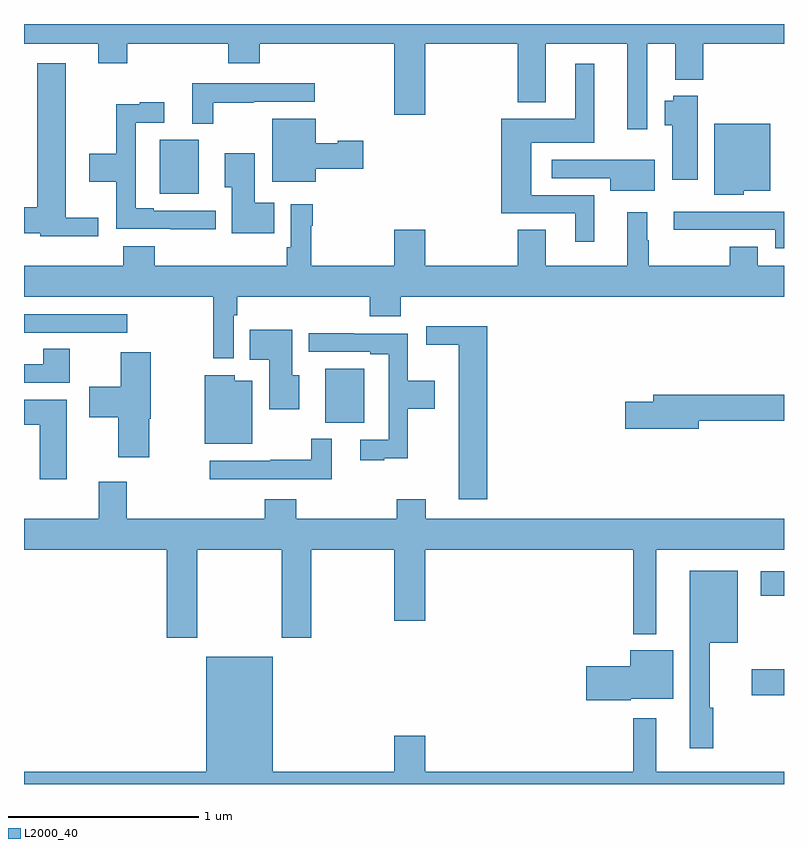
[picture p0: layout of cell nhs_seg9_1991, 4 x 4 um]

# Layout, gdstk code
import gdstk
lib = gdstk.Library(unit=1e-6, precision=1e-09)
def R(c, l, rs):  # rectangles x0, y0, x1, y1
    for r in rs: c.add(gdstk.rectangle(r[:2], r[2:], *l))
def P(c, l, *ps):  # polygons
    for p in ps: c.add(gdstk.Polygon(p, *l))
L2000_40 = (2000, 40)

nhs_seg9_1991 = lib.new_cell('nhs_seg9_1991')
R(nhs_seg9_1991, L2000_40, [(226.83,1216.966,227,1217.103), (226.878,1217.491,227,1217.62), (224.585,1218.401,224.791,1218.685), (223,1218.876,223.543,1218.972), (223.715,1219.607,223.921,1219.891)])
P(nhs_seg9_1991, L2000_40, [(226.279,1220.396),(226.427,1220.396),(226.427,1220.207),(226.575,1220.207),(226.575,1220.396),(227,1220.396),(227,1220.5),(223,1220.5),(223,1220.396),(223.391,1220.396),(223.391,1220.294),(223.544,1220.294),(223.544,1220.396),(224.075,1220.396),(224.075,1220.294),(224.24,1220.294),(224.24,1220.396),(224.948,1220.396),(224.948,1220.022),(225.112,1220.022),(225.112,1220.396),(225.598,1220.396),(225.598,1220.087),(225.745,1220.087),(225.745,1220.396),(226.175,1220.396),(226.175,1219.947),(226.279,1219.947)],
  [(223.39,1219.481),(223.219,1219.481),(223.219,1220.293),(223.07,1220.293),(223.07,1219.535),(223,1219.535),(223,1219.4),(223.086,1219.4),(223.086,1219.382),(223.39,1219.382)],
  [(226,1219.599),(225.67,1219.599),(225.67,1219.874),(226,1219.874),(226,1220.29),(225.902,1220.29),(225.902,1220.002),(225.512,1220.002),(225.512,1219.503),(225.902,1219.503),(225.902,1219.353),(226,1219.353)],
  [(223.996,1220.086),(224.21,1220.086),(224.21,1220.091),(224.53,1220.091),(224.53,1220.187),(223.886,1220.187),(223.886,1219.976),(223.996,1219.976)],
  [(226.546,1220.122),(226.416,1220.122),(226.416,1220.095),(226.373,1220.095),(226.373,1219.966),(226.412,1219.966),(226.412,1219.68),(226.546,1219.68)],
  [(224.008,1219.518),(223.684,1219.518),(223.684,1219.531),(223.587,1219.531),(223.587,1219.98),(223.738,1219.98),(223.738,1220.089),(223.61,1220.089),(223.61,1220.078),(223.486,1220.078),(223.486,1219.818),(223.344,1219.818),(223.344,1219.67),(223.486,1219.67),(223.486,1219.422),(223.771,1219.422),(223.771,1219.421),(224.008,1219.421)],
  [(224.536,1219.739),(224.785,1219.739),(224.785,1219.886),(224.652,1219.886),(224.652,1219.873),(224.536,1219.873),(224.536,1220.002),(224.306,1220.002),(224.306,1219.67),(224.536,1219.67)],
  [(226.788,1219.622),(226.927,1219.622),(226.927,1219.975),(226.634,1219.975),(226.634,1219.601),(226.788,1219.601)],
  [(224.318,1219.558),(224.215,1219.558),(224.215,1219.819),(224.057,1219.819),(224.057,1219.642),(224.093,1219.642),(224.093,1219.4),(224.318,1219.4)],
  [(226.321,1219.786),(226.089,1219.786),(226.089,1219.785),(225.777,1219.785),(225.777,1219.689),(226.085,1219.689),(226.085,1219.622),(226.321,1219.622)],
  [(224.103,1218.968),(224.123,1218.968),(224.123,1219.064),(224.819,1219.064),(224.819,1218.962),(224.984,1218.962),(224.984,1219.064),(227,1219.064),(227,1219.228),(226.861,1219.228),(226.861,1219.327),(226.714,1219.327),(226.714,1219.228),(226.289,1219.228),(226.289,1219.361),(226.279,1219.361),(226.279,1219.51),(226.175,1219.51),(226.175,1219.228),(225.745,1219.228),(225.745,1219.418),(225.598,1219.418),(225.598,1219.228),(225.112,1219.228),(225.112,1219.417),(224.948,1219.417),(224.948,1219.228),(224.512,1219.228),(224.512,1219.439),(224.519,1219.439),(224.519,1219.552),(224.403,1219.552),(224.403,1219.324),(224.383,1219.324),(224.383,1219.228),(223.688,1219.228),(223.688,1219.33),(223.523,1219.33),(223.523,1219.228),(223,1219.228),(223,1219.064),(223.995,1219.064),(223.995,1218.741),(224.103,1218.741)],
  [(227,1219.512),(226.419,1219.512),(226.419,1219.416),(226.953,1219.416),(226.953,1219.32),(227,1219.32)],
  [(225.437,1218.91),(225.117,1218.91),(225.117,1218.812),(225.287,1218.812),(225.287,1218),(225.437,1218)],
  [(224.449,1218.651),(224.413,1218.651),(224.413,1218.892),(224.188,1218.892),(224.188,1218.734),(224.291,1218.734),(224.291,1218.473),(224.449,1218.473)],
  [(224.897,1218.215),(225.02,1218.215),(225.02,1218.475),(225.163,1218.475),(225.163,1218.622),(225.02,1218.622),(225.02,1218.87),(224.735,1218.87),(224.735,1218.872),(224.498,1218.872),(224.498,1218.774),(224.822,1218.774),(224.822,1218.762),(224.919,1218.762),(224.919,1218.312),(224.769,1218.312),(224.769,1218.204),(224.897,1218.204)],
  [(223.24,1218.791),(223.1,1218.791),(223.1,1218.708),(223,1218.708),(223,1218.612),(223.24,1218.612)],
  [(223.659,1218.423),(223.666,1218.423),(223.666,1218.772),(223.508,1218.772),(223.508,1218.592),(223.344,1218.592),(223.344,1218.43),(223.496,1218.43),(223.496,1218.219),(223.659,1218.219)],
  [(224.2,1218.622),(224.11,1218.622),(224.11,1218.652),(223.952,1218.652),(223.952,1218.29),(224.2,1218.29)],
  [(226.552,1218.412),(227,1218.412),(227,1218.548),(226.313,1218.548),(226.313,1218.512),(226.164,1218.512),(226.164,1218.37),(226.552,1218.37)],
  [(223.225,1218.523),(223,1218.523),(223,1218.392),(223.082,1218.392),(223.082,1218.105),(223.225,1218.105)],
  [(224.62,1218.316),(224.511,1218.316),(224.511,1218.206),(224.296,1218.206),(224.296,1218.201),(223.977,1218.201),(223.977,1218.105),(224.62,1218.105)],
  [(224.511,1217.732),(224.948,1217.732),(224.948,1217.358),(225.112,1217.358),(225.112,1217.732),(226.206,1217.732),(226.206,1217.288),(226.327,1217.288),(226.327,1217.732),(227,1217.732),(227,1217.896),(225.115,1217.896),(225.115,1217.998),(224.963,1217.998),(224.963,1217.896),(224.432,1217.896),(224.432,1217.998),(224.267,1217.998),(224.267,1217.896),(223.542,1217.896),(223.542,1218.091),(223.394,1218.091),(223.394,1217.896),(223,1217.896),(223,1217.732),(223.751,1217.732),(223.751,1217.271),(223.911,1217.271),(223.911,1217.732),(224.356,1217.732),(224.356,1217.271),(224.511,1217.271)],
  [(226.627,1216.901),(226.609,1216.901),(226.609,1217.243),(226.756,1217.243),(226.756,1217.623),(226.505,1217.623),(226.505,1216.689),(226.627,1216.689)],
  [(226.194,1216.949),(226.417,1216.949),(226.417,1217.203),(226.19,1217.203),(226.19,1217.12),(225.96,1217.12),(225.96,1216.942),(226.194,1216.942)],
  [(227,1216.564),(226.327,1216.564),(226.327,1216.846),(226.206,1216.846),(226.206,1216.564),(225.112,1216.564),(225.112,1216.753),(224.948,1216.753),(224.948,1216.564),(224.308,1216.564),(224.308,1217.17),(223.958,1217.17),(223.958,1216.564),(223,1216.564),(223,1216.5),(227,1216.5)])

lib.write_gds('nhs_seg9_1991.gds')
